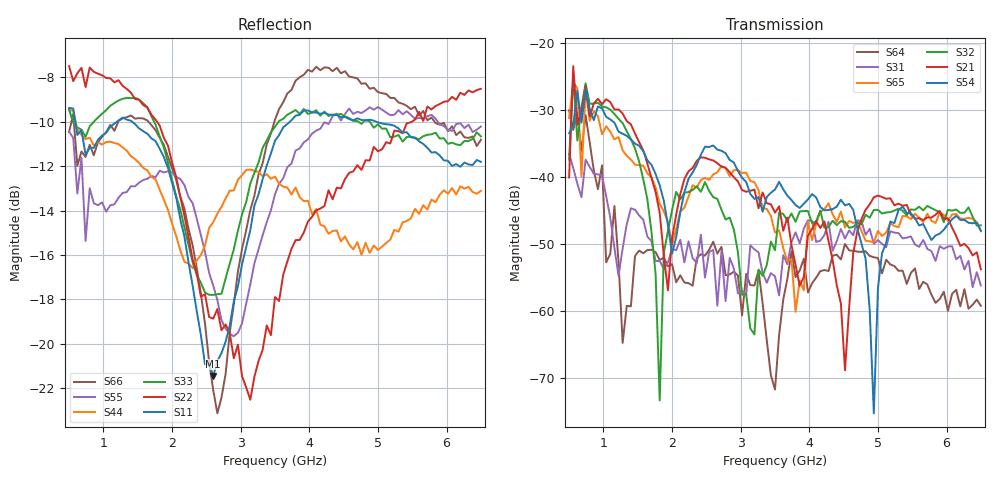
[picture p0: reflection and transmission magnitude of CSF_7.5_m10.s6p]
!Keysight Technologies,M9804A,MY58100912,A.14.10.03
!Date: Thursday, April 27, 2023 10:28:33
!Correction: S11(C  6-Port  )
!S12(C  6-Port  )
!S13(C  6-Port  )
!S14(C  6-Port  )
!S15(C  6-Port  )
!S16(C  6-Port  )
!S21(C  6-Port  )
!S22(C  6-Port  )
!S23(C  6-Port  )
!S24(C  6-Port  )
!S25(C  6-Port  )
!S26(C  6-Port  )
!S31(C  6-Port  )
!S32(C  6-Port  )
!S33(C  6-Port  )
!S34(C  6-Port  )
!S35(C  6-Port  )
!S36(C  6-Port  )
!S41(C  6-Port  )
!S42(C  6-Port  )
!S43(C  6-Port  )
!S44(C  6-Port  )
!S45(C  6-Port  )
!S46(C  6-Port  )
!S51(C  6-Port  )
!S52(C  6-Port  )
!S53(C  6-Port  )
!S54(C  6-Port  )
!S55(C  6-Port  )
!S56(C  6-Port  )
!S61(C  6-Port  )
!S62(C  6-Port  )
!S63(C  6-Port  )
!S64(C  6-Port  )
!S65(C  6-Port  )
!S66(C  6-Port  )
!S6P File: Measurement: :
# Hz S  RI  R 50
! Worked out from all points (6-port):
!   101 points, 500 MHz to 6.5 GHz, reference 50 ohm
!   strongest paths, dB at 500 MHz, 2 GHz, 3.5 GHz, 5 GHz, 6.5 GHz:
!     S54: -33.4, -51.4, -41.8, -56.5, -48.0
!     S21: -40.0, -49.1, -45.3, -42.7, -53.8
!     S32: -37.4, -44.9, -50.9, -44.9, -47.2
!     S65: -31.2, -50.1, -48.3, -48.0, -48.1
!     S31: -36.5, -50.7, -54.8, -49.4, -56.2
!     S64: -30.0, -53.0, -71.7, -52.1, -59.2
!   lowest |S11| = -21.4 dB at 2.6 GHz (marker M1), VSWR 1.18, Z = 42.5 + j2.22 ohm
!   |S11| at or under -10 dB: 590.2 MHz to 1.195 GHz (604.5 MHz wide, 67.7 % of centre); 1.419 GHz to 3.716 GHz (2.297 GHz wide, 89.5 % of centre); 4.976 GHz to end of sweep
